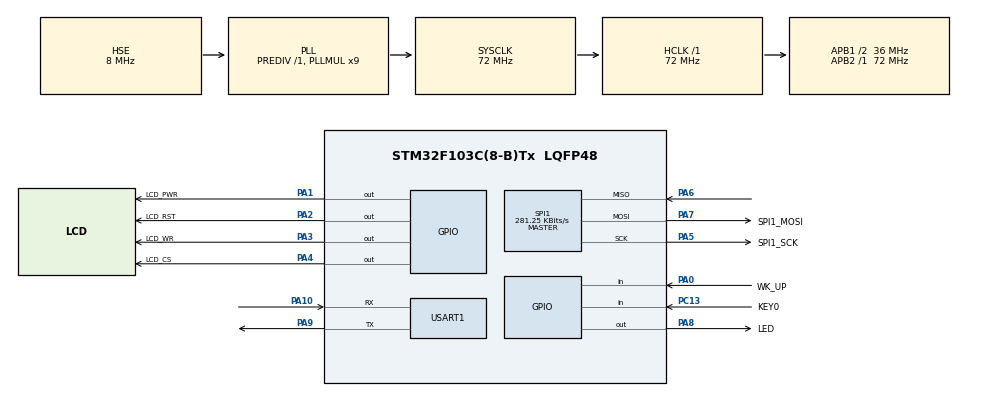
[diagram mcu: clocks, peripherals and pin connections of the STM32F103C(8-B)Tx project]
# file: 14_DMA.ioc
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Dma.Request0=USART1_TX
Dma.USART1_TX.0.Direction=DMA_MEMORY_TO_PERIPH
Dma.USART1_TX.0.Instance=DMA1_Channel4
Dma.USART1_TX.0.MemDataAlignment=DMA_MDATAALIGN_BYTE
Dma.USART1_TX.0.MemInc=DMA_MINC_ENABLE
Dma.USART1_TX.0.Mode=DMA_NORMAL
Dma.USART1_TX.0.PeriphDataAlignment=DMA_PDATAALIGN_BYTE
Dma.USART1_TX.0.PeriphInc=DMA_PINC_DISABLE
Dma.USART1_TX.0.Priority=DMA_PRIORITY_MEDIUM
Mcu.Family=STM32F1
Mcu.Name=STM32F103C(8-B)Tx
Mcu.Package=LQFP48
NVIC.DMA1_Channel4_IRQn=true\:0\:0\:false\:false\:true\:false\:true\:true
NVIC.PriorityGroup=NVIC_PRIORITYGROUP_2
NVIC.USART1_IRQn=true\:2\:0\:true\:false\:true\:true\:true\:true
PA0-WKUP.GPIO_Label=WK_UP
PA0-WKUP.GPIO_PuPd=GPIO_PULLDOWN
PA0-WKUP.Signal=GPIO_Input
PA1.GPIO_Label=LCD_PWR
PA1.GPIO_PuPd=GPIO_PULLUP
PA1.GPIO_Speed=GPIO_SPEED_FREQ_HIGH
PA1.PinState=GPIO_PIN_SET
PA1.Signal=GPIO_Output
PA10.Mode=Asynchronous
PA10.Signal=USART1_RX
PA13.Mode=Serial_Wire
PA13.Signal=SYS_JTMS-SWDIO
PA14.Mode=Serial_Wire
PA14.Signal=SYS_JTCK-SWCLK
PA2.GPIO_Label=LCD_RST
PA2.GPIO_PuPd=GPIO_PULLUP
PA2.GPIO_Speed=GPIO_SPEED_FREQ_HIGH
PA2.PinState=GPIO_PIN_SET
PA2.Signal=GPIO_Output
PA3.GPIO_Label=LCD_WR
PA3.GPIO_PuPd=GPIO_PULLUP
PA3.GPIO_Speed=GPIO_SPEED_FREQ_HIGH
PA3.PinState=GPIO_PIN_SET
PA3.Signal=GPIO_Output
PA4.GPIO_Label=LCD_CS
PA4.GPIO_PuPd=GPIO_PULLUP
PA4.GPIO_Speed=GPIO_SPEED_FREQ_HIGH
PA4.PinState=GPIO_PIN_SET
PA4.Signal=GPIO_Output
PA5.GPIO_Label=SPI1_SCK
PA5.Mode=Full_Duplex_Master
PA5.Signal=SPI1_SCK
PA6.Mode=Full_Duplex_Master
PA6.Signal=SPI1_MISO
PA7.GPIO_Label=SPI1_MOSI
PA7.Mode=Full_Duplex_Master
PA7.Signal=SPI1_MOSI
PA8.GPIO_Label=LED
PA8.GPIO_PuPd=GPIO_PULLUP
PA8.GPIO_Speed=GPIO_SPEED_FREQ_HIGH
PA8.PinState=GPIO_PIN_SET
PA8.Signal=GPIO_Output
PA9.Mode=Asynchronous
PA9.Signal=USART1_TX
PC13-TAMPER-RTC.GPIO_Label=KEY0
PC13-TAMPER-RTC.GPIO_PuPd=GPIO_PULLUP
PC13-TAMPER-RTC.Signal=GPIO_Input
PC14-OSC32_IN.Mode=LSE-External-Oscillator
PC14-OSC32_IN.Signal=RCC_OSC32_IN
PC15-OSC32_OUT.Mode=LSE-External-Oscillator
PC15-OSC32_OUT.Signal=RCC_OSC32_OUT
PD0-OSC_IN.Mode=HSE-External-Oscillator
PD0-OSC_IN.Signal=RCC_OSC_IN
PD1-OSC_OUT.Mode=HSE-External-Oscillator
PD1-OSC_OUT.Signal=RCC_OSC_OUT
ProjectManager.HeapSize=0x200
ProjectManager.StackSize=0x400
ProjectManager.TargetToolchain=STM32CubeIDE
RCC.AHBFreq_Value=72000000
RCC.APB1CLKDivider=RCC_HCLK_DIV2
RCC.APB1Freq_Value=36000000
RCC.APB1TimFreq_Value=72000000
RCC.APB2Freq_Value=72000000
RCC.APB2TimFreq_Value=72000000
RCC.HCLKFreq_Value=72000000
RCC.PLLMUL=RCC_PLL_MUL9
RCC.PLLSourceVirtual=RCC_PLLSOURCE_HSE
RCC.SYSCLKFreq_VALUE=72000000
RCC.SYSCLKSource=RCC_SYSCLKSOURCE_PLLCLK
RCC.USBFreq_Value=72000000
SPI1.BaudRatePrescaler=SPI_BAUDRATEPRESCALER_256
SPI1.CLKPhase=SPI_PHASE_2EDGE
SPI1.CLKPolarity=SPI_POLARITY_HIGH
SPI1.CalculateBaudRate=281.25 KBits/s
SPI1.Direction=SPI_DIRECTION_2LINES
SPI1.Mode=SPI_MODE_MASTER
SPI1.VirtualType=VM_MASTER
USART1.VirtualMode=VM_ASYNC
board=custom

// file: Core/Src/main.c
/**
 ****************************************************************************************************
 * @file        main.c
 * @author      ALIENTEK
 * @brief       DMA code
 * @license     Copyright (C) 2020-2032, ALIENTEK
 ****************************************************************************************************
 * @attention
 *
 * platform  	: ALIENTEK STM32F103 development board
 * website		: https://www.alientek.com
 * forum		: http://www.openedv.com/forum.php
 *
 * change logs	:
 * version		data		notes
 * V1.0			20240222	the first version
 *
 ****************************************************************************************************
 */

/* USER CODE BEGIN Header */

/* USER CODE END Header */
#include "main.h"
#include "dma.h"
#include "spi.h"
#include "usart.h"
#include "gpio.h"

/* USER CODE BEGIN Includes */
#include "../../BSP/LED/led.h"
#include "../../BSP/KEY/key.h"
#include "../../BSP/LCD/lcd.h"
/* USER CODE END Includes */

void SystemClock_Config(void);
/* USER CODE BEGIN PFP */

const uint8_t text_to_send[] = {"ALIENTEK STM32F103 development board DMA Test\r\n"};                  /* 要循环发送的字符串 */
#define SEND_BUF_SIZE (sizeof(text_to_send) + 2) * 200                                              /* 发送数据长度 */
uint8_t g_sendbuf[SEND_BUF_SIZE];
extern DMA_HandleTypeDef hdma_usart1_tx;

/* USER CODE END PFP */

/* USER CODE BEGIN 0 */

void stm32f103c8t6_show_mesg(void)
{
	/* The serial port outputs the experimental information */
	printf("\n");
	printf("********************************\r\n");
	printf("STM32F103\r\n");
	printf("DMA Test\r\n");
	printf("ATOM@ALIENTEK\r\n");
	printf("********************************\r\n");
	printf("\r\n");
}

/* USER CODE END 0 */

int main(void)
{
  /* USER CODE BEGIN 1 */
	  uint8_t  key = 0;
	  uint16_t i, k;
	  uint16_t len;
	  uint8_t  mask = 0;
	  float pro = 0;          /* 进度 */

  /* USER CODE END 1 */

  /* MCU Configuration--------------------------------------------------------*/

  /* Reset of all peripherals, Initializes the Flash interface and the Systick. */
  HAL_Init();

  /* Configure the system clock */
  SystemClock_Config();

  /* Initialize all configured peripherals */
  MX_GPIO_Init();
  MX_DMA_Init();
  MX_USART1_UART_Init();
  MX_SPI1_Init();
  /* USER CODE BEGIN 2 */

  stm32f103c8t6_show_mesg();
  lcd_init();
  lcd_show_string(0, 5, 240, 32, 32, "STM32F103C8T6", RED);
  lcd_show_string(0, 34, 240, 24, 24, "DMA TEST", RED);
  lcd_show_string(0, 60, 240, 16, 16, "ATOM@ALIENTEK", RED);
  lcd_show_string(0, 80, 200, 16, 16, "KEY0:Start", RED);

  len = sizeof(text_to_send);                             /* Fill the send data buffer */
  k = 0;

  for (i = 0; i < SEND_BUF_SIZE; i++) /* Fill ASCII character set data */
  {
	  if (k >= len)   /* Enter a newline character */
	  {
		  if (mask)
		  {
			  g_sendbuf[i] = 0x0a;
			  k = 0;
		  }
		  else
		  {
			  g_sendbuf[i] = 0x0d;
			  mask++;
		  }
	  }
	  else     /* Copy the TEXT TO SEND statement */
	  {
		  mask = 0;
		  g_sendbuf[i] = text_to_send[k];
		  k++;
	  }
  }

  i = 0;

  /* USER CODE END 2 */

  /* Infinite loop */
  /* USER CODE BEGIN WHILE */
  while (1)
  {
      key = key_scan(0);

      if (key == KEY0_PRES)       /* KEY0 is pressed */
      {
          printf("Start Transimit....\r\n");
          printf( "\r\n");

		  lcd_show_string(0, 100, 200, 16, 16, "Start Transimit....", BLUE);
		  lcd_show_string(0, 120, 200, 16, 16, "   %", BLUE);    /* Display percent */

          HAL_UART_Transmit_DMA(&huart1, g_sendbuf, SEND_BUF_SIZE);

          /* Wait for the DMA transfer to complete, at which point we can do something else, such as lighting the lamp
           * In practical applications, additional tasks can be performed during data transmission
           */

          while (1)
          {
              /* Wait for the DMA1 Channel4 transfer to complete */
              if ( __HAL_DMA_GET_FLAG(&hdma_usart1_tx, DMA_FLAG_TC4))   /* Wait for the DMA1 Channel4 transfer to complete */
              {
                  __HAL_DMA_CLEAR_FLAG(&hdma_usart1_tx, DMA_FLAG_TC4);  /* Clear the DMA1 Channel4 transfer Completed flag */
                  HAL_UART_DMAStop(&huart1);                  			/* Disable the serial port DMA after the transmission is complete */
                  break;
              }

              pro = __HAL_DMA_GET_COUNTER(&hdma_usart1_tx);             /* Get the number of data remaining */
              len = SEND_BUF_SIZE;                                    	/* total length */
              pro = 1 - (pro / len);                                  	/* Get a percentage */
              pro *= 100;                                             	/* 100 times larger */
              printf("%d\r\n",(unsigned int)pro);
              lcd_show_num(0, 120, pro, 3, 16, BLUE);
          }

          printf("Transimit Finished!\r\n");
		  lcd_show_num(0, 120, 100, 3, 16, BLUE);    							/* Display 100% */
		  lcd_show_string(0, 100, 200, 16, 16, "Transimit Finished!", BLUE); 	/* Prompt transfer complete */

      }

      i++;
      HAL_Delay(10);

      if (i == 20)
      {
    	  LED_TOGGLE();                                              			/* LED state is flipped */
          i = 0;
      }

    /* USER CODE END WHILE */

  }
}

void SystemClock_Config(void)
{
  RCC_OscInitTypeDef RCC_OscInitStruct = {0};
  RCC_ClkInitTypeDef RCC_ClkInitStruct = {0};

  /** Initializes the RCC Oscillators according to the specified parameters
  * in the RCC_OscInitTypeDef structure.
  */
  RCC_OscInitStruct.OscillatorType = RCC_OSCILLATORTYPE_HSE;
  RCC_OscInitStruct.HSEState = RCC_HSE_ON;
  RCC_OscInitStruct.HSEPredivValue = RCC_HSE_PREDIV_DIV1;
  RCC_OscInitStruct.HSIState = RCC_HSI_ON;
  RCC_OscInitStruct.PLL.PLLState = RCC_PLL_ON;
  RCC_OscInitStruct.PLL.PLLSource = RCC_PLLSOURCE_HSE;
  RCC_OscInitStruct.PLL.PLLMUL = RCC_PLL_MUL9;
  if (HAL_RCC_OscConfig(&RCC_OscInitStruct) != HAL_OK)
  {
    Error_Handler();
  }

  /** Initializes the CPU, AHB and APB buses clocks
  */
  RCC_ClkInitStruct.ClockType = RCC_CLOCKTYPE_HCLK|RCC_CLOCKTYPE_SYSCLK
                              |RCC_CLOCKTYPE_PCLK1|RCC_CLOCKTYPE_PCLK2;
  RCC_ClkInitStruct.SYSCLKSource = RCC_SYSCLKSOURCE_PLLCLK;
  RCC_ClkInitStruct.AHBCLKDivider = RCC_SYSCLK_DIV1;
  RCC_ClkInitStruct.APB1CLKDivider = RCC_HCLK_DIV2;
  RCC_ClkInitStruct.APB2CLKDivider = RCC_HCLK_DIV1;

  if (HAL_RCC_ClockConfig(&RCC_ClkInitStruct, FLASH_LATENCY_2) != HAL_OK)
  {
    Error_Handler();
  }
}

void Error_Handler(void)
{
  __disable_irq();
  while (1)
  {
  }
}
